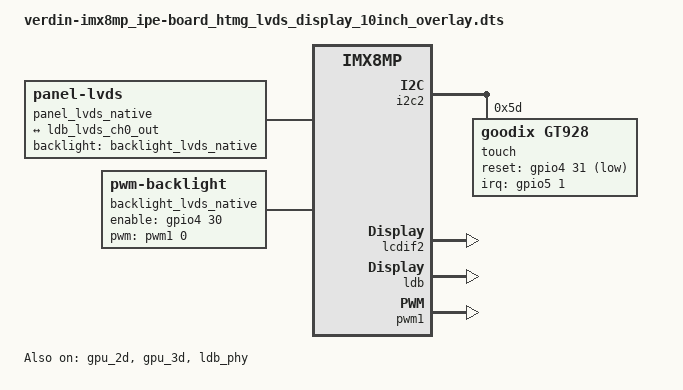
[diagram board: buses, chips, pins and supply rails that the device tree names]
// SPDX-License-Identifier: GPL-2.0-or-later OR MIT
/*
 * Verdin iMX8MP overlay - Native LVDS Display
 * Display Model: AT-T101QIH-45CP 10.1" 1280x800 LVDS
 *
 * Touchscreen capacitive: Goodix GT928
 * Carrier Board: Ipê Carrier Board
 * Kernel 6.6 (TorizonOS 7.4)
 * 
 * Witte Technology LTDA - https://wittetech.com/
 */

/dts-v1/;
/plugin/;

#include <dt-bindings/gpio/gpio.h>
#include <dt-bindings/interrupt-controller/irq.h>
#include <dt-bindings/pwm/pwm.h>
#include <dt-bindings/../../arch/arm64/boot/dts/freescale/imx8mp-pinfunc.h>

/ {
	compatible = "toradex,verdin-imx8mp";
};

/* Panel LVDS definition */
&{/} {
	panel_lvds_native: panel-lvds-native {
		compatible = "panel-lvds";
		backlight = <&backlight_lvds_native>;
		data-mapping = "vesa-24";
		height-mm = <136>;
		width-mm = <217>;
		status = "okay";

		panel-timing {
			clock-frequency = <71100000>;
			de-active = <1>;
			hactive = <1280>;
			hback-porch = <60>;
			hfront-porch = <60>;
			hsync-active = <0>;
			hsync-len = <40>;
			pixelclk-active = <1>;
			vactive = <800>;
			vback-porch = <7>;
			vfront-porch = <7>;
			vsync-active = <0>;
			vsync-len = <9>;
		};

		port {
			panel_lvds_in: endpoint {
				remote-endpoint = <&ldb_lvds_ch0_out>;
			};
		};
	};

	backlight_lvds_native: backlight-lvds-native {
		compatible = "pwm-backlight";
		pinctrl-names = "default";
		pinctrl-0 = <&pinctrl_i2s_2_d_out_dsi_1_bkl_en>;
		brightness-levels = <0 4 8 14 22 32 45 60 78 100 125 153 185 220 255>;
		default-brightness-level = <10>;
		enable-gpios = <&gpio4 30 GPIO_ACTIVE_HIGH>;
		pwms = <&pwm1 0 6666667 PWM_POLARITY_INVERTED>;
		status = "okay";
	};
};

&gpu_2d {
	status = "okay";
};

&gpu_3d {
	status = "okay";
};

/* Verdin I2C_2_DSI */
&i2c2 {
	#address-cells = <1>;
	#size-cells = <0>;
	status = "okay";

	/* Goodix GT928 touchscreen at 0x14 address */
	touch@14 {
		compatible = "goodix,gt928";
		reg = <0x14>;
		pinctrl-names = "default";
		pinctrl-0 = <&pinctrl_rst_int_gpios>;
		interrupt-parent = <&gpio5>;
		interrupts = <1 IRQ_TYPE_EDGE_FALLING>;
		reset-gpios = <&gpio4 31 GPIO_ACTIVE_LOW>;
		status = "disabled";
	};

	/* Goodix GT928 touchscreen at 0x5D address */
	touch@5d {
		compatible = "goodix,gt928";
		reg = <0x5d>;
		pinctrl-names = "default";
		pinctrl-0 = <&pinctrl_rst_int_gpios>;
		interrupt-parent = <&gpio5>;
		interrupts = <1 IRQ_TYPE_EDGE_FALLING>;
		reset-gpios = <&gpio4 31 GPIO_ACTIVE_LOW>;
		status = "okay";
	};
};

&iomuxc {
	pinctrl_rst_int_gpios: gt928gpiosgrp {
		fsl,pins =
			<MX8MP_IOMUXC_SAI3_TXD__GPIO5_IO01 0x184>,
			<MX8MP_IOMUXC_SAI3_TXFS__GPIO4_IO31 0x184>;
	};

	pinctrl_i2s_2_d_out_dsi_1_bkl_en: i2s2doutdsi1bklengrp {
		fsl,pins =
			<MX8MP_IOMUXC_SAI3_RXD__GPIO4_IO30 0x184>;
	};
};

&lcdif2 {
	status = "okay";
};

&ldb {
	status = "okay";

	lvds-channel@0 {
		#address-cells = <1>;
		#size-cells = <0>;
		status = "okay";

		port@1 {
			reg = <1>;

			ldb_lvds_ch0_out: endpoint {
				remote-endpoint = <&panel_lvds_in>;
			};
		};
	};
};

&ldb_phy {
	status = "okay";
};

&pwm1 {
	status = "okay";
};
